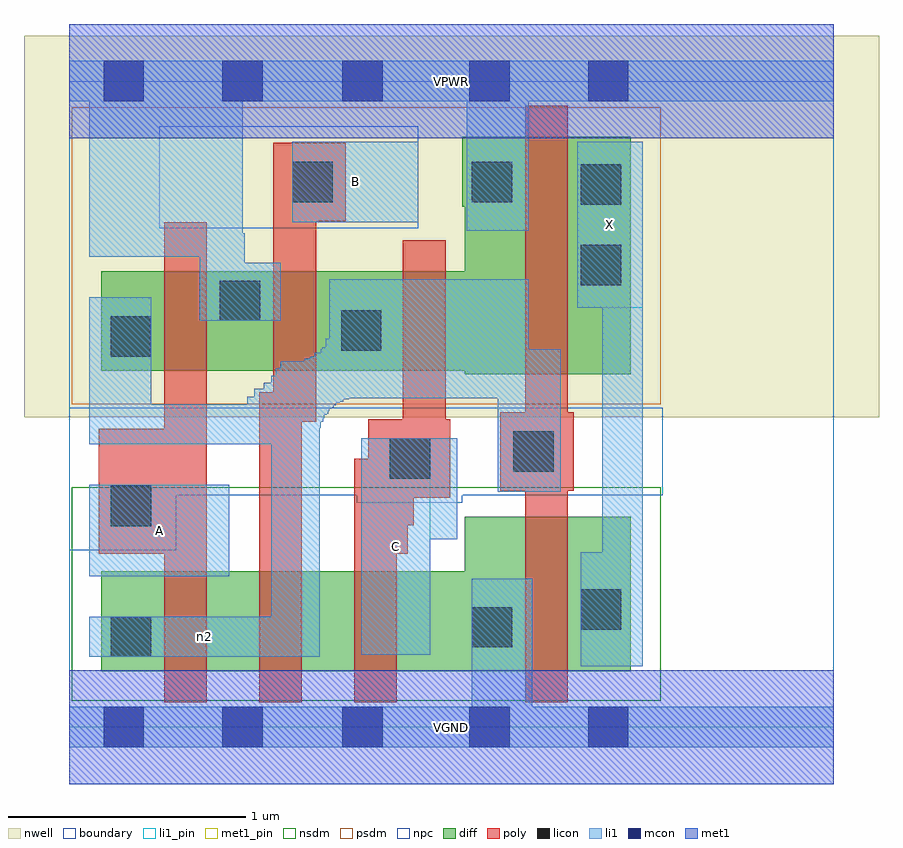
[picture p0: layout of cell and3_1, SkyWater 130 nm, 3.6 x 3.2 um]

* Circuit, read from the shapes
.subckt and3_1 A B C VGND VPWR X n2
XM1 n1 A n2 VSUBS sky130_fd_pr__nfet_01v8 w=0.42 l=0.18
XM2 n3 B n1 VSUBS sky130_fd_pr__nfet_01v8 w=0.42 l=0.18
XM3 VGND C n3 VSUBS sky130_fd_pr__nfet_01v8 w=0.42 l=0.18
XM4 X n2 VGND VSUBS sky130_fd_pr__nfet_01v8 w=0.65 l=0.18
XM5 VPWR A n2 n4 sky130_fd_pr__pfet_01v8 w=0.42 l=0.18
XM6 n2 B VPWR n4 sky130_fd_pr__pfet_01v8 w=0.42 l=0.18
XM7 VPWR C n2 n4 sky130_fd_pr__pfet_01v8 w=0.42 l=0.18
XM8 X n2 VPWR n4 sky130_fd_pr__pfet_01v8 w=1 l=0.18
.ends

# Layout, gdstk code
import gdstk
lib = gdstk.Library(unit=1e-6, precision=1e-09)
def R(c, l, rs):  # rectangles x0, y0, x1, y1
    for r in rs: c.add(gdstk.rectangle(r[:2], r[2:], *l))
nwell = (64, 20)
diff = (65, 20)
poly = (66, 20)
licon = (66, 44)
li1_pin = (67, 16)
li1 = (67, 20)
mcon = (67, 44)
met1_pin = (68, 16)
met1 = (68, 20)
nsdm = (93, 44)
psdm = (94, 20)
npc = (95, 20)
boundary = (235, 4)

and3_1 = lib.new_cell('and3_1')
R(and3_1, nwell, [(-0.19,1.305,3.41,2.91), (0,1.305,3.22,2.91)])
R(and3_1, diff, [(0.135,0.235,2.365,0.655), (1.665,0.235,2.365,0.885), (1.665,1.485,2.365,2.485), (0.135,1.5,2.365,1.92), (1.655,2.19,2.365,2.485)])
R(and3_1, poly, [(0.4,0.105,0.58,2.125), (0.8,0.105,0.98,1.41), (1.2,0.105,1.38,1.13), (1.92,0.105,2.1,2.615), (0.125,0.73,0.58,1.255), (1.26,0.73,1.425,1.295), (1.26,0.85,1.45,1.295), (1.26,0.965,1.605,1.295), (1.405,0.965,1.585,2.05), (1.815,0.995,2.125,1.325), (0.86,1.285,1.04,2.46), (0.86,2.13,1.165,2.46)])
R(and3_1, licon, [(0.175,0.295,0.345,0.465), (1.695,0.335,1.865,0.505), (2.155,0.41,2.325,0.58), (0.175,0.845,0.345,1.015), (1.35,1.045,1.52,1.215), (1.87,1.075,2.04,1.245), (0.175,1.56,0.345,1.73), (1.145,1.585,1.315,1.755), (0.635,1.71,0.805,1.88), (2.155,1.86,2.325,2.03), (2.155,2.2,2.325,2.37), (0.94,2.21,1.11,2.38), (1.695,2.21,1.865,2.38)])
R(and3_1, li1_pin, [(1.23,0.305,1.52,1.215), (0.085,0.635,0.675,1.02), (2.14,1.765,2.415,2.465), (0.94,2.125,1.47,2.465)])
R(and3_1, li1, [(0,-0.085,3.22,0.085), (1.695,-0.085,1.95,0.625), (2.155,0.255,2.415,0.735), (2.245,0.255,2.415,2.465), (0.085,0.295,1.055,0.465), (0.85,0.295,1.055,1.48), (0.87,0.295,1.055,1.51), (1.23,0.305,1.52,1.215), (0.085,0.635,0.675,1.02), (1.23,0.79,1.635,1.215), (1.805,0.99,2.07,1.59), (0.085,1.19,1.055,1.36), (0.085,1.19,0.345,1.81), (0.78,1.19,1.055,1.425), (1.035,1.26,1.06,1.575), (0.75,1.285,1.07,1.39), (0.75,1.3,1.075,1.39), (0.75,1.315,1.085,1.39), (0.75,1.32,1.09,1.39), (0.75,1.33,1.095,1.39), (0.75,1.34,1.105,1.39), (0.75,1.345,1.115,1.39), (1.06,1.355,1.125,1.59), (1.06,1.365,1.14,1.59), (1.06,1.37,1.155,1.59), (1.06,1.38,1.18,1.59), (0.82,1.385,2.07,1.45), (0.89,1.385,2.07,1.54), (0.99,1.385,2.07,1.55), (1.015,1.385,2.07,1.56), (1.065,1.385,1.935,1.6), (1.08,1.385,1.935,1.635), (1.095,1.385,1.935,1.885), (0.55,1.71,0.89,1.955), (0.55,1.71,0.74,2.08), (2.14,1.765,2.415,2.465), (0.085,1.98,0.73,2.635), (1.675,2.09,1.935,2.805), (0.94,2.125,1.47,2.465), (0,2.635,3.22,2.805)])
R(and3_1, mcon, [(0.145,-0.085,0.315,0.085), (0.645,-0.085,0.815,0.085), (1.15,-0.085,1.32,0.085), (1.685,-0.085,1.855,0.085), (2.185,-0.085,2.355,0.085), (0.145,2.635,0.315,2.805), (0.645,2.635,0.815,2.805), (1.15,2.635,1.32,2.805), (1.685,2.635,1.855,2.805), (2.185,2.635,2.355,2.805)])
R(and3_1, met1_pin, [(0,-0.24,3.22,0.24), (0,2.48,3.22,2.96)])
R(and3_1, met1, [(0,-0.24,3.22,0.24), (0,2.48,3.22,2.96)])
R(and3_1, nsdm, [(0.01,0.11,2.49,1.01)])
R(and3_1, psdm, [(0.01,1.36,2.49,2.61)])
R(and3_1, npc, [(0,0.745,0.45,1.345), (1.21,0.945,1.655,1.345), (0,0.975,2.5,1.345), (0.38,2.1,1.47,2.53)])
R(and3_1, boundary, [(0,0,3.22,2.72)])
and3_1.add(gdstk.Label('A', (0.38,0.827), layer=67, texttype=5))
and3_1.add(gdstk.Label('B', (1.205,2.295), layer=67, texttype=5))
and3_1.add(gdstk.Label('C', (1.375,0.76), layer=67, texttype=5))
and3_1.add(gdstk.Label('X', (2.277,2.115), layer=67, texttype=5))
and3_1.add(gdstk.Label('n2', (0.57,0.38), layer=67, texttype=5))
and3_1.add(gdstk.Label('VPWR', (1.61,2.72), layer=68, texttype=5))
and3_1.add(gdstk.Label('VGND', (1.61,0), layer=68, texttype=5))
and3_1.add(gdstk.Label('A', (0.38,0.827), layer=67, texttype=16))
and3_1.add(gdstk.Label('B', (1.205,2.295), layer=67, texttype=16))
and3_1.add(gdstk.Label('C', (1.375,0.76), layer=67, texttype=16))
and3_1.add(gdstk.Label('X', (2.277,2.115), layer=67, texttype=16))
and3_1.add(gdstk.Label('VPWR', (1.61,2.72), layer=68, texttype=16))
and3_1.add(gdstk.Label('VGND', (1.61,0), layer=68, texttype=16))

lib.write_gds('and3_1.gds')
